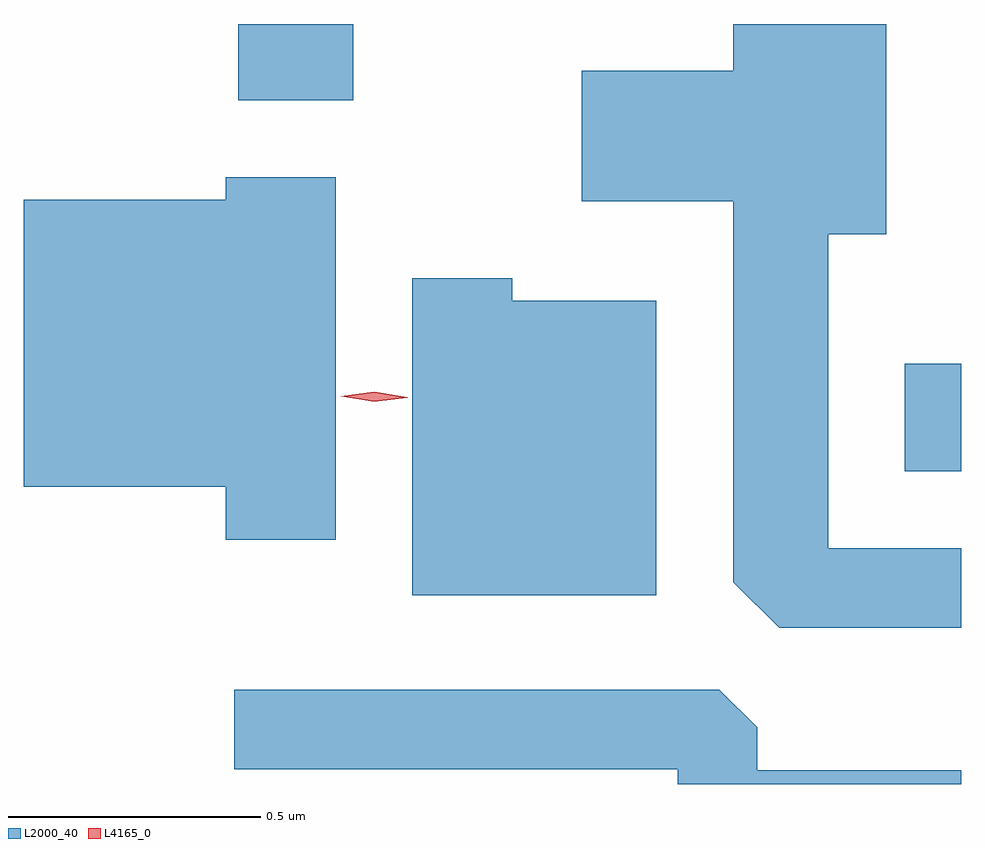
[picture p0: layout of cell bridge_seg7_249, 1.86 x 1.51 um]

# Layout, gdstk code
import gdstk
lib = gdstk.Library(unit=1e-6, precision=1e-09)
def R(c, l, rs):  # rectangles x0, y0, x1, y1
    for r in rs: c.add(gdstk.rectangle(r[:2], r[2:], *l))
def P(c, l, *ps):  # polygons
    for p in ps: c.add(gdstk.Polygon(p, *l))
L2000_40 = (2000, 40)
L4165_0 = (4165, 0)

bridge_seg7_249 = lib.new_cell('bridge_seg7_249')
R(bridge_seg7_249, L2000_40, [(1816.521,1668.871,1816.633,1669.084), (1815.201,1669.606,1815.429,1669.757)])
P(bridge_seg7_249, L2000_40, [(1816.633,1668.719),(1816.369,1668.719),(1816.369,1669.341),(1816.484,1669.341),(1816.484,1669.757),(1816.181,1669.757),(1816.181,1669.664),(1815.881,1669.664),(1815.881,1669.406),(1816.181,1669.406),(1816.181,1668.652),(1816.272,1668.561),(1816.633,1668.561)],
  [(1815.394,1669.454),(1815.176,1669.454),(1815.176,1669.409),(1814.776,1669.409),(1814.776,1668.841),(1815.176,1668.841),(1815.176,1668.736),(1815.394,1668.736)],
  [(1816.029,1669.209),(1815.744,1669.209),(1815.744,1669.254),(1815.546,1669.254),(1815.546,1668.626),(1816.029,1668.626)],
  [(1816.633,1668.279),(1816.229,1668.279),(1816.229,1668.364),(1816.154,1668.439),(1815.193,1668.439),(1815.193,1668.281),(1816.071,1668.281),(1816.071,1668.252),(1816.633,1668.252)])
P(bridge_seg7_249, L4165_0, [(1815.47,1669.009),(1815.404,1669.02),(1815.404,1669.02),(1815.404,1669.02),(1815.47,1669.029),(1815.536,1669.018),(1815.537,1669.017),(1815.536,1669.017)])

lib.write_gds('bridge_seg7_249.gds')
